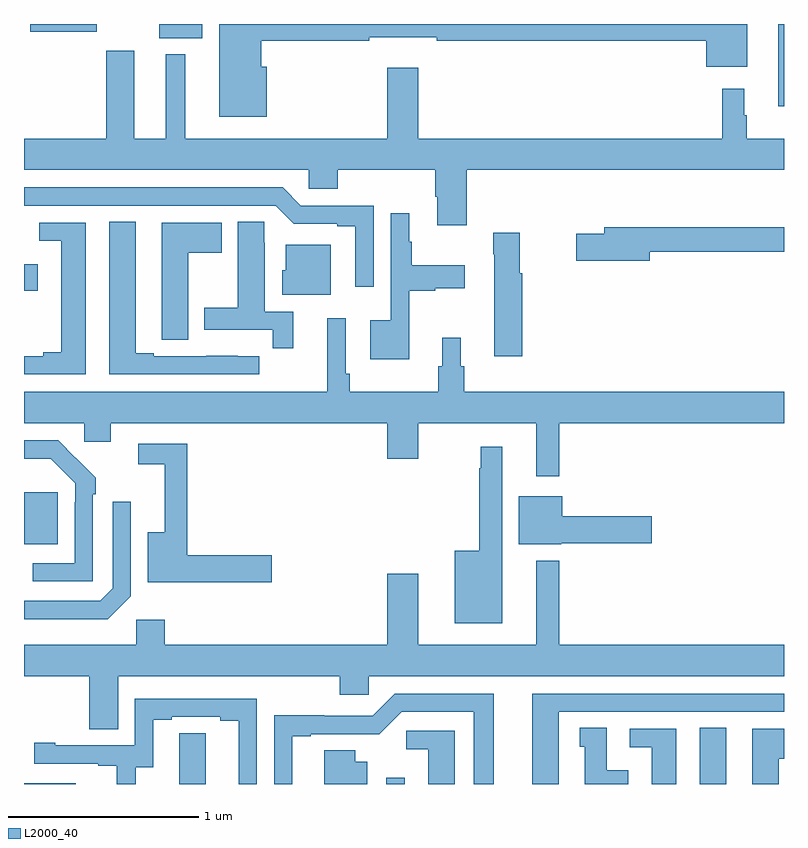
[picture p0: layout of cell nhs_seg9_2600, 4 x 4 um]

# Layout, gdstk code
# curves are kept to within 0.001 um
import gdstk
lib = gdstk.Library(unit=1e-6, precision=1e-09)
def R(c, l, rs):  # rectangles x0, y0, x1, y1
    for r in rs: c.add(gdstk.rectangle(r[:2], r[2:], *l))
def P(c, l, *ps):  # polygons
    for p in ps: c.add(gdstk.Polygon(p, *l))
L2000_40 = (2000, 40)

nhs_seg9_2600 = lib.new_cell('nhs_seg9_2600')
R(nhs_seg9_2600, L2000_40, [(259,1214.5,259.273,1214.503), (260.907,1214.5,261.003,1214.533), (262.556,1214.5,262.696,1214.795), (259,1215.761,259.177,1216.036), (259,1217.096,259.072,1217.236), (262.97,1218.068,263,1218.5), (259.712,1218.425,259.939,1218.5), (259.034,1218.458,259.384,1218.5)])
P(nhs_seg9_2600, L2000_40, [(260.278,1218.274),(260.248,1218.274),(260.248,1218.412),(260.816,1218.412),(260.816,1218.431),(261.172,1218.431),(261.172,1218.412),(262.592,1218.412),(262.592,1218.275),(262.807,1218.275),(262.807,1218.5),(260.027,1218.5),(260.027,1218.011),(260.278,1218.011)],
  [(261.329,1217.732),(263,1217.732),(263,1217.896),(262.804,1217.896),(262.804,1218.02),(262.792,1218.02),(262.792,1218.16),(262.675,1218.16),(262.675,1217.896),(261.076,1217.896),(261.076,1218.271),(260.912,1218.271),(260.912,1217.896),(259.849,1217.896),(259.849,1218.34),(259.745,1218.34),(259.745,1217.896),(259.579,1217.896),(259.579,1218.358),(259.432,1218.358),(259.432,1217.896),(259,1217.896),(259,1217.732),(260.499,1217.732),(260.499,1217.634),(260.651,1217.634),(260.651,1217.732),(261.164,1217.732),(261.164,1217.59),(261.176,1217.59),(261.176,1217.442),(261.329,1217.442)],
  [(260.841,1217.544),(260.457,1217.544),(260.361,1217.64),(259,1217.64),(259,1217.544),(260.325,1217.544),(260.421,1217.448),(260.648,1217.448),(260.648,1217.436),(260.744,1217.436),(260.744,1217.118),(260.841,1217.118)],
  [(261.028,1217.096),(261.165,1217.096),(261.165,1217.108),(261.319,1217.108),(261.319,1217.23),(261.04,1217.23),(261.04,1217.354),(261.028,1217.354),(261.028,1217.503),(260.931,1217.503),(260.931,1216.942),(260.822,1216.942),(260.822,1216.736),(261.028,1216.736)],
  [(260.239,1216.752),(260.126,1216.752),(260.126,1216.753),(259.96,1216.753),(259.96,1216.752),(259.684,1216.752),(259.684,1216.767),(259.588,1216.767),(259.588,1217.459),(259.448,1217.459),(259.448,1216.656),(260.239,1216.656)],
  [(260.416,1216.986),(260.266,1216.986),(260.266,1217.348),(260.265,1217.348),(260.265,1217.459),(260.126,1217.459),(260.126,1217.007),(259.949,1217.007),(259.949,1216.89),(260.308,1216.89),(260.308,1216.794),(260.416,1216.794)],
  [(259.864,1217.296),(260.041,1217.296),(260.041,1217.455),(259.724,1217.455),(259.724,1216.945),(259.725,1216.945),(259.725,1216.837),(259.864,1216.837)],
  [(259.324,1217.454),(259.08,1217.454),(259.08,1217.358),(259.196,1217.358),(259.196,1216.772),(259.1,1216.772),(259.1,1216.752),(259,1216.752),(259,1216.656),(259.324,1216.656)],
  [(262.294,1217.302),(263,1217.302),(263,1217.431),(262.055,1217.431),(262.055,1217.397),(261.906,1217.397),(261.906,1217.255),(262.294,1217.255)],
  [(261.623,1217.188),(261.61,1217.188),(261.61,1217.401),(261.469,1217.401),(261.469,1217.288),(261.476,1217.288),(261.476,1216.752),(261.623,1216.752)],
  [(260.614,1217.338),(260.378,1217.338),(260.378,1217.205),(260.36,1217.205),(260.36,1217.075),(260.614,1217.075)],
  [(261.817,1216.4),(263,1216.4),(263,1216.564),(261.317,1216.564),(261.317,1216.698),(261.298,1216.698),(261.298,1216.849),(261.2,1216.849),(261.2,1216.698),(261.181,1216.698),(261.181,1216.564),(260.714,1216.564),(260.714,1216.66),(260.694,1216.66),(260.694,1216.951),(260.597,1216.951),(260.597,1216.564),(259,1216.564),(259,1216.4),(259.317,1216.4),(259.317,1216.302),(259.456,1216.302),(259.456,1216.4),(260.912,1216.4),(260.912,1216.212),(261.076,1216.212),(261.076,1216.4),(261.695,1216.4),(261.695,1216.119),(261.817,1216.119)],
  [(259.362,1216.025),(259.377,1216.025),(259.377,1216.113),(259.18,1216.308),(259,1216.308),(259,1216.212),(259.141,1216.212),(259.269,1216.083),(259.269,1215.983),(259.266,1215.983),(259.266,1215.663),(259.047,1215.663),(259.047,1215.567),(259.362,1215.567)],
  [(260.305,1215.704),(259.859,1215.704),(259.859,1216.29),(259.602,1216.29),(259.602,1216.182),(259.742,1216.182),(259.742,1215.826),(259.652,1215.826),(259.652,1215.562),(260.305,1215.562)],
  [(261.517,1216.276),(261.403,1216.276),(261.403,1216.163),(261.396,1216.163),(261.396,1215.727),(261.266,1215.727),(261.266,1215.347),(261.517,1215.347)],
  [(261.828,1215.767),(262.303,1215.767),(262.303,1215.909),(261.832,1215.909),(261.832,1216.015),(261.605,1216.015),(261.605,1215.761),(261.828,1215.761)],
  [(259.563,1215.489),(259.563,1215.985),(259.467,1215.985),(259.467,1215.531),(259.401,1215.465),(259,1215.465),(259,1215.368),(259.442,1215.368)],
  [(259.495,1215.068),(260.663,1215.068),(260.663,1214.97),(260.814,1214.97),(260.814,1215.068),(263,1215.068),(263,1215.232),(261.817,1215.232),(261.817,1215.676),(261.695,1215.676),(261.695,1215.232),(261.076,1215.232),(261.076,1215.607),(260.912,1215.607),(260.912,1215.232),(259.742,1215.232),(259.742,1215.364),(259.59,1215.364),(259.59,1215.232),(259,1215.232),(259,1215.068),(259.343,1215.068),(259.343,1214.788),(259.495,1214.788)],
  [(261.814,1214.88),(263,1214.88),(263,1214.976),(261.674,1214.976),(261.674,1214.5),(261.814,1214.5)],
  [(260.413,1214.751),(260.509,1214.751),(260.509,1214.763),(260.87,1214.762),(260.988,1214.88),(261.368,1214.88),(261.368,1214.5),(261.472,1214.5),(261.472,1214.976),(260.952,1214.976),(260.835,1214.859),(260.579,1214.859),(260.579,1214.861),(260.316,1214.861),(260.316,1214.5),(260.413,1214.5)],
  [(259.587,1214.587),(259.681,1214.587),(259.681,1214.838),(259.777,1214.838),(259.777,1214.853),(260.033,1214.853),(260.033,1214.833),(260.129,1214.833),(260.129,1214.5),(260.226,1214.5),(260.226,1214.949),(259.584,1214.949),(259.584,1214.703),(259.165,1214.703),(259.165,1214.716),(259.053,1214.716),(259.053,1214.607),(259.391,1214.607),(259.391,1214.595),(259.487,1214.595),(259.487,1214.5),(259.587,1214.5)],
  [(262.18,1214.572),(262.066,1214.572),(262.066,1214.795),(261.926,1214.795),(261.926,1214.697),(261.95,1214.697),(261.95,1214.5),(262.18,1214.5)],
  [(262.972,1214.632),(263,1214.632),(263,1214.791),(262.832,1214.791),(262.832,1214.5),(262.972,1214.5)],
  [(262.432,1214.79),(262.188,1214.79),(262.188,1214.694),(262.304,1214.694),(262.304,1214.5),(262.432,1214.5)],
  [(261.268,1214.781),(261.012,1214.781),(261.012,1214.684),(261.128,1214.684),(261.128,1214.5),(261.268,1214.5)],
  [(259.957,1214.768),(259.818,1214.768),(259.818,1214.66),(259.817,1214.66),(259.817,1214.5),(259.957,1214.5)],
  [(260.806,1214.617),(260.743,1214.617),(260.743,1214.678),(260.579,1214.678),(260.579,1214.5),(260.806,1214.5)])

lib.write_gds('nhs_seg9_2600.gds')
